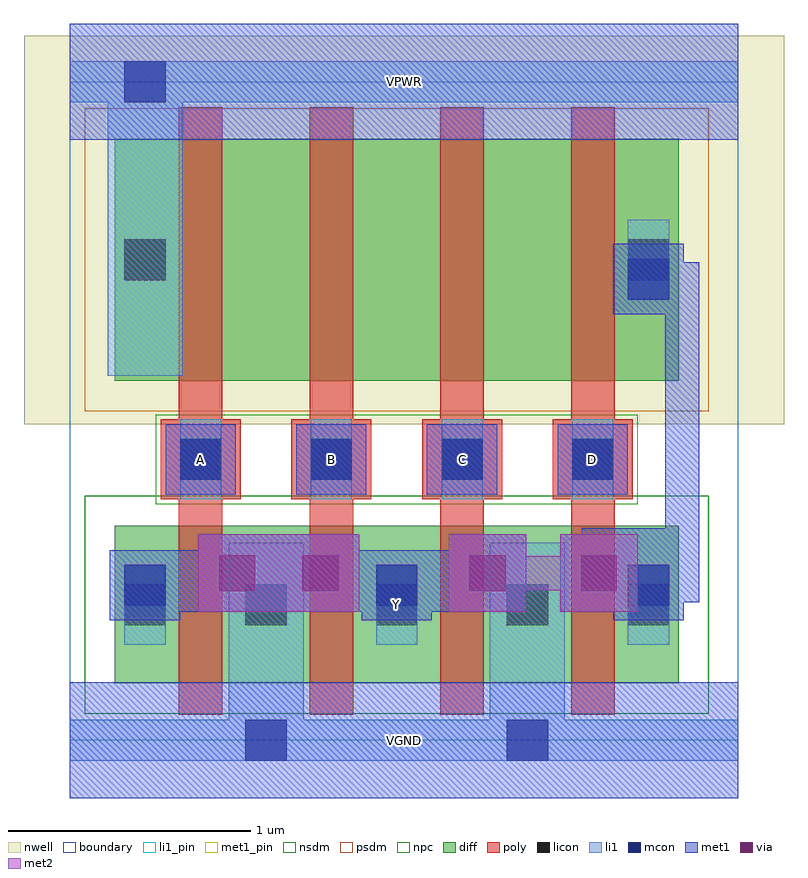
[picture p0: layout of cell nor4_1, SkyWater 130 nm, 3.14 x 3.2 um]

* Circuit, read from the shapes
.subckt nor4_1 A B C D VGND VPWR Y
XM1 VGND A Y VSUBS sky130_fd_pr__nfet_01v8 w=0.65 l=0.18
XM2 Y B VGND VSUBS sky130_fd_pr__nfet_01v8 w=0.65 l=0.18
XM3 VGND C Y VSUBS sky130_fd_pr__nfet_01v8 w=0.65 l=0.18
XM4 Y D VGND VSUBS sky130_fd_pr__nfet_01v8 w=0.65 l=0.18
XM5 n1 A VPWR n2 sky130_fd_pr__pfet_01v8 w=1 l=0.18
XM6 n3 B n1 n2 sky130_fd_pr__pfet_01v8 w=1 l=0.18
XM7 n4 C n3 n2 sky130_fd_pr__pfet_01v8 w=1 l=0.18
XM8 Y D n4 n2 sky130_fd_pr__pfet_01v8 w=1 l=0.18
.ends

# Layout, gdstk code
import gdstk
lib = gdstk.Library(unit=1e-6, precision=1e-09)
def R(c, l, rs):  # rectangles x0, y0, x1, y1
    for r in rs: c.add(gdstk.rectangle(r[:2], r[2:], *l))
def A(c, l, x, y, w, h, nx, ny, dx, dy):  # array of equal rectangles
    R(c, l, [(x+i*dx, y+j*dy, x+i*dx+w, y+j*dy+h) for i in range(nx) for j in range(ny)])
nwell = (64, 20)
diff = (65, 20)
poly = (66, 20)
licon = (66, 44)
li1_pin = (67, 16)
li1 = (67, 20)
mcon = (67, 44)
met1_pin = (68, 16)
met1 = (68, 20)
via = (68, 44)
met2 = (69, 20)
nsdm = (93, 44)
psdm = (94, 20)
npc = (95, 20)
boundary = (235, 4)

nor4_1 = lib.new_cell('nor4_1')
R(nor4_1, nwell, [(-0.19,1.305,2.95,2.91), (0,1.305,2.76,2.91)])
R(nor4_1, diff, [(0.185,0.235,2.515,0.885), (0.185,1.485,2.515,2.485)])
A(nor4_1, poly, 0.45, 0.105, 0.18, 2.51, 4, 1, 0.54, 0)
A(nor4_1, poly, 0.375, 0.995, 0.33, 0.33, 4, 1, 0.54, 0)
A(nor4_1, licon, 0.725, 0.475, 0.17, 0.17, 3, 1, 0.54, 0)
A(nor4_1, licon, 0.455, 1.075, 0.17, 0.17, 4, 1, 0.54, 0)
R(nor4_1, licon, [(0.225,0.475,0.395,0.645), (2.305,0.475,2.475,0.645), (0.225,1.9,0.395,2.07), (2.305,1.9,2.475,2.07)])
R(nor4_1, li1_pin, [(1.265,0.395,1.435,0.725)])
A(nor4_1, li1, 0.225, 0.395, 0.17, 0.33, 3, 1, 1.04, 0)
A(nor4_1, li1, 0.455, 0.995, 0.17, 0.33, 4, 1, 0.54, 0)
R(nor4_1, li1, [(0,-0.085,2.76,0.085), (0.655,-0.085,0.965,0.815), (1.735,-0.085,2.045,0.815), (0.155,1.505,0.465,2.805), (2.305,1.82,2.475,2.15), (0,2.635,2.76,2.805)])
A(nor4_1, mcon, 0.225, 0.555, 0.17, 0.17, 3, 1, 1.04, 0)
A(nor4_1, mcon, 0.455, 1.075, 0.17, 0.17, 4, 1, 0.54, 0)
R(nor4_1, mcon, [(0.725,-0.085,0.895,0.085), (1.805,-0.085,1.975,0.085), (2.305,1.82,2.475,1.99), (0.225,2.635,0.395,2.805)])
A(nor4_1, met1_pin, 0.395, 1.015, 0.29, 0.29, 4, 1, 0.54, 0)
R(nor4_1, met1_pin, [(0,-0.24,2.76,0.24), (0,2.48,2.76,2.96)])
A(nor4_1, met1, 0.165, 0.495, 0.29, 0.29, 3, 1, 1.04, 0)
A(nor4_1, met1, 0.395, 1.015, 0.29, 0.29, 4, 1, 0.54, 0)
R(nor4_1, met1, [(0,-0.24,2.76,0.24), (0.455,0.53,0.53,0.785), (0.53,0.53,0.85,0.85), (0.85,0.53,0.875,0.85), (0.875,0.53,1.195,0.85), (1.195,0.53,1.205,0.785), (1.495,0.53,1.565,0.785), (1.565,0.53,1.885,0.85), (2.025,0.53,2.345,0.85), (0.24,0.57,0.53,0.71), (0.39,0.57,0.53,0.76), (1.195,0.57,1.28,0.71), (1.28,0.57,1.565,0.71), (1.425,0.57,1.565,0.76), (2.32,0.57,2.6,0.71), (2.345,0.57,2.46,0.85), (2.46,0.57,2.6,0.875), (0.39,0.62,0.76,0.76), (0.76,0.62,0.875,0.76), (0.85,0.62,0.965,0.76), (0.965,0.62,1.565,0.76), (1.425,0.62,1.795,0.76), (2.115,0.62,2.255,0.875), (2.32,0.71,2.6,0.735), (2.115,0.735,2.6,0.875), (2.46,0.735,2.6,1.795), (2.46,1.655,2.6,1.975), (2.245,1.76,2.535,2.05), (2.32,1.835,2.6,1.975), (0,2.48,2.76,2.96)])
R(nor4_1, via, [(0.615,0.615,0.765,0.765), (0.96,0.615,1.11,0.765), (1.65,0.615,1.8,0.765), (2.11,0.615,2.26,0.765)])
R(nor4_1, met2, [(0.53,0.53,0.85,0.85), (0.85,0.53,0.875,0.85), (0.875,0.53,1.195,0.85), (1.565,0.53,1.885,0.85), (2.025,0.53,2.345,0.85), (0.62,0.62,1.105,0.76), (1.655,0.62,2.255,0.76)])
R(nor4_1, nsdm, [(0.06,0.11,2.64,1.01)])
R(nor4_1, psdm, [(0.06,1.36,2.64,2.61)])
R(nor4_1, npc, [(0.355,0.975,2.345,1.345)])
R(nor4_1, boundary, [(0,0,2.76,2.72)])
nor4_1.add(gdstk.Label('Y', (1.35,0.56), layer=67, texttype=5))
nor4_1.add(gdstk.Label('A', (0.54,1.16), layer=68, texttype=5))
nor4_1.add(gdstk.Label('B', (1.08,1.16), layer=68, texttype=5))
nor4_1.add(gdstk.Label('C', (1.62,1.16), layer=68, texttype=5))
nor4_1.add(gdstk.Label('D', (2.16,1.16), layer=68, texttype=5))
nor4_1.add(gdstk.Label('VPWR', (1.38,2.72), layer=68, texttype=5))
nor4_1.add(gdstk.Label('VGND', (1.38,0), layer=68, texttype=5))
nor4_1.add(gdstk.Label('Y', (1.35,0.56), layer=67, texttype=16))
nor4_1.add(gdstk.Label('A', (0.54,1.16), layer=68, texttype=16))
nor4_1.add(gdstk.Label('B', (1.08,1.16), layer=68, texttype=16))
nor4_1.add(gdstk.Label('C', (1.62,1.16), layer=68, texttype=16))
nor4_1.add(gdstk.Label('D', (2.16,1.16), layer=68, texttype=16))
nor4_1.add(gdstk.Label('VPWR', (1.38,2.72), layer=68, texttype=16))
nor4_1.add(gdstk.Label('VGND', (1.38,0), layer=68, texttype=16))

lib.write_gds('nor4_1.gds')
